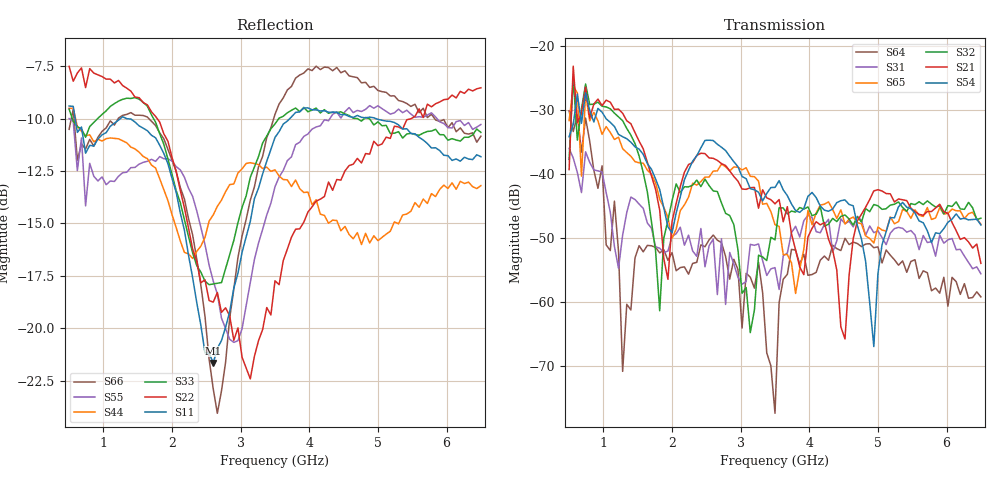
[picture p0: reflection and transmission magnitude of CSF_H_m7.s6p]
!Keysight Technologies,M9804A,MY58100912,A.14.10.03
!Date: Thursday, April 27, 2023 10:28:33
!Correction: S11(C  6-Port  )
!S12(C  6-Port  )
!S13(C  6-Port  )
!S14(C  6-Port  )
!S15(C  6-Port  )
!S16(C  6-Port  )
!S21(C  6-Port  )
!S22(C  6-Port  )
!S23(C  6-Port  )
!S24(C  6-Port  )
!S25(C  6-Port  )
!S26(C  6-Port  )
!S31(C  6-Port  )
!S32(C  6-Port  )
!S33(C  6-Port  )
!S34(C  6-Port  )
!S35(C  6-Port  )
!S36(C  6-Port  )
!S41(C  6-Port  )
!S42(C  6-Port  )
!S43(C  6-Port  )
!S44(C  6-Port  )
!S45(C  6-Port  )
!S46(C  6-Port  )
!S51(C  6-Port  )
!S52(C  6-Port  )
!S53(C  6-Port  )
!S54(C  6-Port  )
!S55(C  6-Port  )
!S56(C  6-Port  )
!S61(C  6-Port  )
!S62(C  6-Port  )
!S63(C  6-Port  )
!S64(C  6-Port  )
!S65(C  6-Port  )
!S66(C  6-Port  )
!S6P File: Measurement: :
# Hz S  RI  R 50
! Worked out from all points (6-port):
!   101 points, 500 MHz to 6.5 GHz, reference 50 ohm
!   strongest paths, dB at 500 MHz, 2 GHz, 3.5 GHz, 5 GHz, 6.5 GHz:
!     S54: -34.2, -49.2, -42.1, -55.6, -48.0
!     S21: -39.3, -47.5, -44.7, -42.5, -54.0
!     S32: -37.7, -44.2, -50.3, -45.0, -46.9
!     S65: -31.7, -50.1, -48.0, -48.3, -47.9
!     S31: -36.0, -49.8, -54.7, -48.9, -55.6
!     S64: -30.2, -52.3, -77.5, -51.4, -59.2
!   lowest |S11| = -21.7 dB at 2.6 GHz (marker M1), VSWR 1.18, Z = 42.6 + j1.98 ohm
!   |S11| at or under -10 dB: 588.4 MHz to 1.246 GHz (657.1 MHz wide, 71.7 % of centre); 1.341 GHz to 3.714 GHz (2.373 GHz wide, 93.9 % of centre); 4.974 GHz to end of sweep
